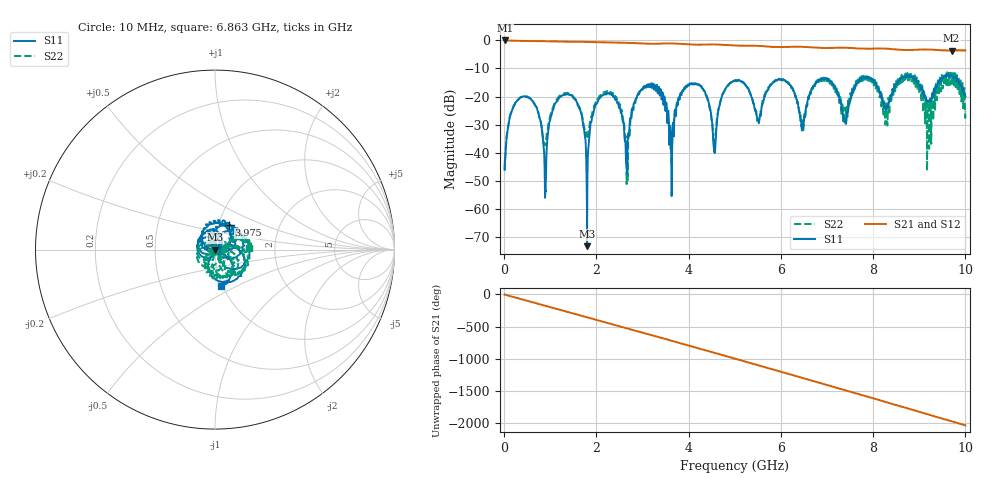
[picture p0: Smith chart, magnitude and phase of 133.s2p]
!Keysight Technologies,E5080B,MY59205177,A.15.75.32
!Date: Friday, February 23, 2024 03:39:16
!Correction: S11(Cdelta 2-Port  )
!S21(Cdelta 2-Port  )
!S12(Cdelta 2-Port  )
!S22(Cdelta 2-Port  )
!S2P File: Measurements: S11, S21, S12, S22:
# Hz S  dB  R 50
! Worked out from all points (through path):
!   10001 points, 10 MHz to 10 GHz, reference 50 ohm
!   highest |S21| = -0.01 dB at 14 MHz (marker M1); lowest = -3.7 dB at 9.701 GHz (marker M2)
!   group delay of S21, straight-line fit = 565 ps
!   lowest |S11| = -73.3 dB at 1.798 GHz (marker M3), VSWR 1.00, Z = 50 + j0.0213 ohm
!   |S11| at or under -10 dB: start of sweep to end of sweep
!   |S22| runs from -51.2 to -11.1 dB; largest |S21 - S12| = 0.0017
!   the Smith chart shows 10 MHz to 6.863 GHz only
!   S11 on the Smith chart (normalised r, x): 10 MHz: 1.01, -0.00; 3.975 GHz: 1.12, +0.31; 6.863 GHz: 0.98, -0.42
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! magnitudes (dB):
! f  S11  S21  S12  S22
! 10 MHz  -46.1  0.0  0.0  -45.8
! 14 MHz  -43.3  0.0  0.0  -45.4
! 374.6 MHz  -20.2  -0.2  -0.2  -20.1
! 888.1 MHz  -55.5  -0.3  -0.3  -37.1
! 1.177 GHz  -20.8  -0.4  -0.4  -20.2
! 1.675 GHz  -26.2  -0.5  -0.5  -25.7
! 1.798 GHz  -73.3  -0.5  -0.5  -33.3
! 2.108 GHz  -19.8  -0.7  -0.7  -19.0
! 2.663 GHz  -47.5  -0.9  -0.9  -43.4
! 2.892 GHz  -19.3  -1.0  -1.0  -20.1
! 3.341 GHz  -17.4  -1.1  -1.1  -17.6
! 3.627 GHz  -47.0  -1.1  -1.1  -41.9
! 3.975 GHz  -16.1  -1.4  -1.4  -16.0
! 4.561 GHz  -39.8  -1.4  -1.4  -38.6
! 5.005 GHz  -14.1  -1.8  -1.8  -14.5
! 6.107 GHz  -14.6  -2.3  -2.3  -14.7
! 6.464 GHz  -31.5  -2.3  -2.3  -27.8
! 6.67 GHz  -17.3  -2.5  -2.5  -17.0
! 6.863 GHz  -13.6  -2.7  -2.7  -14.5
! 8.336 GHz  -22.7  -3.0  -3.0  -21.0
! 9.701 GHz  -12.2  -3.7  -3.7  -13.8
! 10 GHz  -20.0  -3.6  -3.6  -25.3
